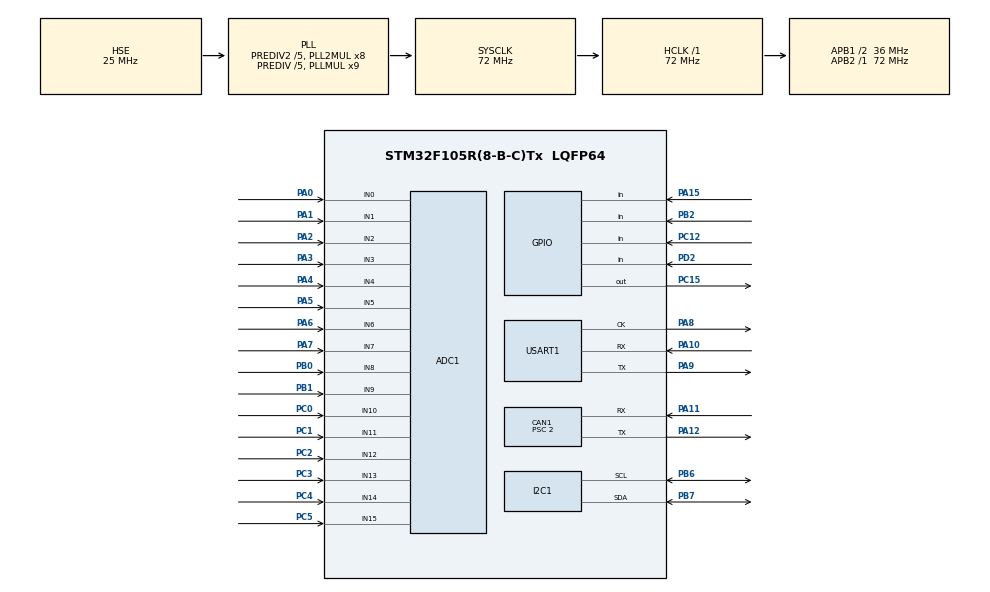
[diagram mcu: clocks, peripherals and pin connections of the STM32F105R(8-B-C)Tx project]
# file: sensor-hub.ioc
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ADC1.Channel-0\#ChannelRegularConversion=ADC_CHANNEL_10
ADC1.NbrOfConversionFlag=1
ADC1.Rank-0\#ChannelRegularConversion=1
ADC1.SamplingTime-0\#ChannelRegularConversion=ADC_SAMPLETIME_1CYCLE_5
ADC1.master=1
CAN1.ABOM=ENABLE
CAN1.BS1=CAN_BS1_14TQ
CAN1.BS2=CAN_BS2_3TQ
CAN1.CalculateBaudRate=1000000
CAN1.CalculateTimeBit=1000
CAN1.CalculateTimeQuantum=55.55555555555556
CAN1.Prescaler=2
Mcu.Family=STM32F1
Mcu.Name=STM32F105R(8-B-C)Tx
Mcu.Package=LQFP64
NVIC.PriorityGroup=NVIC_PRIORITYGROUP_4
NVIC.TIM6_IRQn=true\:0\:0\:false\:false\:true\:true\:true\:true
PA0-WKUP.Signal=ADCx_IN0
PA1.Signal=ADCx_IN1
PA10.Mode=Synchronous
PA10.Signal=USART1_RX
PA11.Mode=CAN_Activate
PA11.Signal=CAN1_RX
PA12.Mode=CAN_Activate
PA12.Signal=CAN1_TX
PA13.Mode=Trace_Asynchronous_SW
PA13.Signal=SYS_JTMS-SWDIO
PA14.Mode=Trace_Asynchronous_SW
PA14.Signal=SYS_JTCK-SWCLK
PA15.Signal=GPIO_Input
PA2.Signal=ADCx_IN2
PA3.Signal=ADCx_IN3
PA4.Signal=ADCx_IN4
PA5.Signal=ADCx_IN5
PA6.Signal=ADCx_IN6
PA7.Signal=ADCx_IN7
PA8.Mode=Synchronous
PA8.Signal=USART1_CK
PA9.Mode=Synchronous
PA9.Signal=USART1_TX
PB0.Signal=ADCx_IN8
PB1.Signal=ADCx_IN9
PB2.Signal=GPIO_Input
PB3.Mode=Trace_Asynchronous_SW
PB3.Signal=SYS_TRACESWO
PB6.Mode=I2C
PB6.Signal=I2C1_SCL
PB7.Mode=I2C
PB7.Signal=I2C1_SDA
PC0.Signal=ADCx_IN10
PC1.Signal=ADCx_IN11
PC12.Signal=GPIO_Input
PC15-OSC32_OUT.Signal=GPIO_Output
PC2.Signal=ADCx_IN12
PC3.Signal=ADCx_IN13
PC4.Signal=ADCx_IN14
PC5.Signal=ADCx_IN15
PD0-OSC_IN.Mode=HSE-External-Oscillator
PD0-OSC_IN.Signal=RCC_OSC_IN
PD1-OSC_OUT.Mode=HSE-External-Oscillator
PD1-OSC_OUT.Signal=RCC_OSC_OUT
PD2.Signal=GPIO_Input
ProjectManager.HeapSize=0x200
ProjectManager.StackSize=0x400
ProjectManager.TargetToolchain=CMake
RCC.ADCPresc=RCC_ADCPCLK2_DIV6
RCC.AHBFreq_Value=72000000
RCC.APB1CLKDivider=RCC_HCLK_DIV2
RCC.APB1Freq_Value=36000000
RCC.APB1TimFreq_Value=72000000
RCC.APB2Freq_Value=72000000
RCC.APB2TimFreq_Value=72000000
RCC.HCLKFreq_Value=72000000
RCC.HSEDivPLL=RCC_HSE_PREDIV_DIV5
RCC.HSE_VALUE=25000000
RCC.PLLMUL=RCC_PLL_MUL9
RCC.PLLSourceVirtual=RCC_PLLSOURCE_HSE
RCC.Prediv1Source=RCC_PREDIV1_SOURCE_PLL2
RCC.Prediv2=RCC_HSE_PREDIV2_DIV5
RCC.SYSCLKFreq_VALUE=72000000
RCC.SYSCLKSource=RCC_SYSCLKSOURCE_PLLCLK
RCC.USBFreq_Value=48000000
SH.ADCx_IN0.0=ADC1_IN0,IN0
SH.ADCx_IN1.0=ADC1_IN1,IN1
SH.ADCx_IN10.0=ADC1_IN10,IN10
SH.ADCx_IN11.0=ADC1_IN11,IN11
SH.ADCx_IN12.0=ADC1_IN12,IN12
SH.ADCx_IN13.0=ADC1_IN13,IN13
SH.ADCx_IN14.0=ADC1_IN14,IN14
SH.ADCx_IN15.0=ADC1_IN15,IN15
SH.ADCx_IN2.0=ADC1_IN2,IN2
SH.ADCx_IN3.0=ADC1_IN3,IN3
SH.ADCx_IN4.0=ADC1_IN4,IN4
SH.ADCx_IN5.0=ADC1_IN5,IN5
SH.ADCx_IN6.0=ADC1_IN6,IN6
SH.ADCx_IN7.0=ADC1_IN7,IN7
SH.ADCx_IN8.0=ADC1_IN8,IN8
SH.ADCx_IN9.0=ADC1_IN9,IN9
TIM6.Period=99
TIM6.Prescaler=7199
USART1.VirtualMode=VM_SYNC
VP_TIM6_VS_ClockSourceINT.Mode=Enable_Timer
board=custom

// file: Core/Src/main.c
/* USER CODE BEGIN Header */
/**
  ******************************************************************************
  * @file           : main.c
  * @brief          : Main program body
  ******************************************************************************
  * @attention
  *
  * Copyright (c) 2026 STMicroelectronics.
  * All rights reserved.
  *
  * This software is licensed under terms that can be found in the LICENSE file
  * in the root directory of this software component.
  * If no LICENSE file comes with this software, it is provided AS-IS.
  *
  ******************************************************************************
  */
/* USER CODE END Header */
#include "main.h"
#include "adc.h"
#include "can.h"
#include "i2c.h"
#include "tim.h"
#include "usart.h"
#include "gpio.h"

/* USER CODE BEGIN Includes */
#include "sensor_hub.h"
#include "sensors.h"
/* USER CODE END Includes */

/* USER CODE BEGIN PV */
static uint32_t  s_status_tick     = 0U;
static uint8_t   s_tx_err          = 0U;
static uint32_t  s_led_last_toggle = 0U;
volatile uint8_t s_tick            = 0U;
/* USER CODE END PV */

void SystemClock_Config(void);

/* USER CODE BEGIN 0 */
static void boot_error_flash(void)
{
  for (uint8_t i = 0U; i < 5U; i++) {
    HAL_GPIO_WritePin(SENSOR_HUB_ERROR_LED_PORT, SENSOR_HUB_ERROR_LED_PIN, GPIO_PIN_SET);
    HAL_Delay(100U);
    HAL_GPIO_WritePin(SENSOR_HUB_ERROR_LED_PORT, SENSOR_HUB_ERROR_LED_PIN, GPIO_PIN_RESET);
    HAL_Delay(100U);
  }
}
/* USER CODE END 0 */

int main(void)
{

  /* MCU Configuration--------------------------------------------------------*/

  /* Reset of all peripherals, Initializes the Flash interface and the Systick. */
  HAL_Init();

  /* Configure the system clock */
  SystemClock_Config();

  /* Initialize all configured peripherals */
  MX_GPIO_Init();
  MX_ADC1_Init();
  MX_CAN1_Init();
  MX_I2C1_Init();
  MX_USART1_Init();
  MX_TIM6_Init();
  /* USER CODE BEGIN 2 */
  uint8_t boot_err = 0U;
  if (SensorHub_Init() != HAL_OK) { boot_err = 1U; }
  if (Sensors_Init()   != HAL_OK) { boot_err = 1U; }
  if (boot_err) { boot_error_flash(); }

  // uint8_t found[128] = {0};
  // for (uint8_t addr = 0x08; addr < 0x78; addr++) {
  //     if (HAL_I2C_IsDeviceReady(&hi2c1, addr << 1, 1, 10) == HAL_OK)
  //         found[addr] = 1;
  // }

  HAL_TIM_Base_Start_IT(&htim6);
  /* USER CODE END 2 */

  /* Infinite loop */
  while (1)
  {

    /* USER CODE BEGIN 3 */
    if (s_tick) {
      s_tick = 0U;
      uint8_t err = 0U;
      if (SensorHub_Transmit() != HAL_OK) { err = 1U; }
      if (Sensors_Transmit()   != HAL_OK) { err = 1U; }

      if (HAL_GetTick() - s_status_tick >= 1000U) {
        s_status_tick = HAL_GetTick();

        CAN_TxHeaderTypeDef shdr = {0};
        shdr.StdId              = SENSOR_HUB_STATUS_ID;
        shdr.DLC                = SENSOR_HUB_STATUS_DLC;
        shdr.RTR                = CAN_RTR_DATA;
        shdr.IDE                = CAN_ID_STD;
        shdr.TransmitGlobalTime = DISABLE;

        uint32_t mailbox;
        uint8_t  status = Sensors_GetStatus();

        if (HAL_CAN_GetTxMailboxesFreeLevel(&hcan1) > 0U &&
            HAL_CAN_AddTxMessage(&hcan1, &shdr, &status, &mailbox) != HAL_OK) {
          err = 1U;
        }
      }

      s_tx_err = err;
    }

    if (s_tx_err) {
      uint32_t now = HAL_GetTick();
      if (now - s_led_last_toggle >= 100U) {
        s_led_last_toggle = now;
        HAL_GPIO_TogglePin(SENSOR_HUB_ERROR_LED_PORT, SENSOR_HUB_ERROR_LED_PIN);
      }
    } else {
      HAL_GPIO_WritePin(SENSOR_HUB_ERROR_LED_PORT, SENSOR_HUB_ERROR_LED_PIN, GPIO_PIN_RESET);
    }
  }
  /* USER CODE END 3 */
}

void SystemClock_Config(void)
{
  RCC_OscInitTypeDef RCC_OscInitStruct = {0};
  RCC_ClkInitTypeDef RCC_ClkInitStruct = {0};
  RCC_PeriphCLKInitTypeDef PeriphClkInit = {0};

  /** Initializes the RCC Oscillators according to the specified parameters
  * in the RCC_OscInitTypeDef structure.
  */
  RCC_OscInitStruct.OscillatorType = RCC_OSCILLATORTYPE_HSE;
  RCC_OscInitStruct.HSEState = RCC_HSE_ON;
  RCC_OscInitStruct.HSEPredivValue = RCC_HSE_PREDIV_DIV5;
  RCC_OscInitStruct.HSIState = RCC_HSI_ON;
  RCC_OscInitStruct.Prediv1Source = RCC_PREDIV1_SOURCE_PLL2;
  RCC_OscInitStruct.PLL.PLLState = RCC_PLL_ON;
  RCC_OscInitStruct.PLL.PLLSource = RCC_PLLSOURCE_HSE;
  RCC_OscInitStruct.PLL.PLLMUL = RCC_PLL_MUL9;
  RCC_OscInitStruct.PLL2.PLL2State = RCC_PLL2_ON;
  RCC_OscInitStruct.PLL2.PLL2MUL = RCC_PLL2_MUL8;
  RCC_OscInitStruct.PLL2.HSEPrediv2Value = RCC_HSE_PREDIV2_DIV5;
  if (HAL_RCC_OscConfig(&RCC_OscInitStruct) != HAL_OK)
  {
    Error_Handler();
  }

  /** Initializes the CPU, AHB and APB buses clocks
  */
  RCC_ClkInitStruct.ClockType = RCC_CLOCKTYPE_HCLK|RCC_CLOCKTYPE_SYSCLK
                              |RCC_CLOCKTYPE_PCLK1|RCC_CLOCKTYPE_PCLK2;
  RCC_ClkInitStruct.SYSCLKSource = RCC_SYSCLKSOURCE_PLLCLK;
  RCC_ClkInitStruct.AHBCLKDivider = RCC_SYSCLK_DIV1;
  RCC_ClkInitStruct.APB1CLKDivider = RCC_HCLK_DIV2;
  RCC_ClkInitStruct.APB2CLKDivider = RCC_HCLK_DIV1;

  if (HAL_RCC_ClockConfig(&RCC_ClkInitStruct, FLASH_LATENCY_2) != HAL_OK)
  {
    Error_Handler();
  }
  PeriphClkInit.PeriphClockSelection = RCC_PERIPHCLK_ADC;
  PeriphClkInit.AdcClockSelection = RCC_ADCPCLK2_DIV6;
  if (HAL_RCCEx_PeriphCLKConfig(&PeriphClkInit) != HAL_OK)
  {
    Error_Handler();
  }

  /** Configure the Systick interrupt time
  */
  __HAL_RCC_PLLI2S_ENABLE();
}

/* USER CODE BEGIN 4 */
void HAL_TIM_PeriodElapsedCallback(TIM_HandleTypeDef *htim)
{
  if (htim->Instance == TIM6) { s_tick = 1U; }
}
/* USER CODE END 4 */

void Error_Handler(void)
{
  __disable_irq();
  while (1)
  {
  }
}
